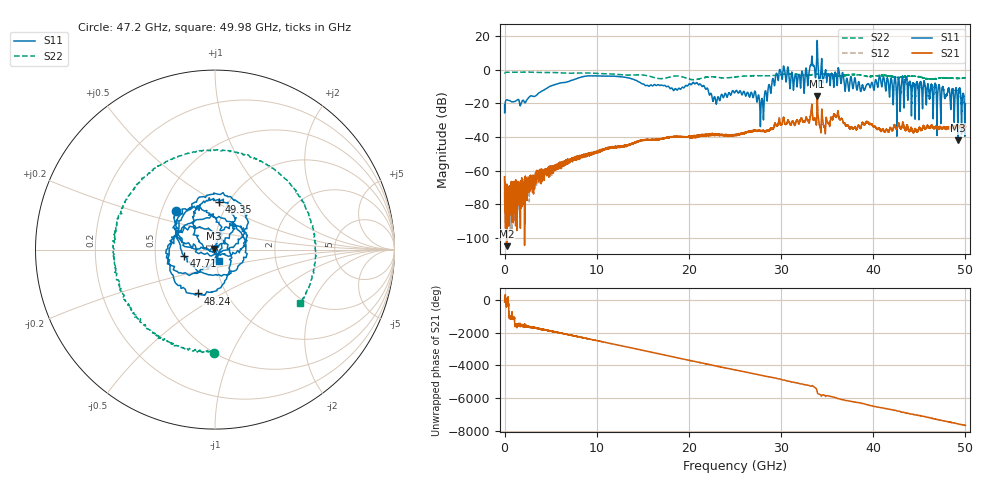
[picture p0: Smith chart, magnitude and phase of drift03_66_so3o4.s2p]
!Created with skrf (http://scikit-rf.org).
# Hz S RI R 50.0
!freq ReS11 ImS11 ReS21 ImS21 ReS12 ImS12 ReS22 ImS22
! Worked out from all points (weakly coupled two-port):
!   10001 points, 300 kHz to 50 GHz, reference 50 ohm
!   highest |S21| = -15.49 dB at 33.92 GHz (marker M1); lowest = -104.8 dB at 230.3 MHz (marker M2)
!   lowest |S11| = -41.9 dB at 49.18 GHz (marker M3), VSWR 1.02, Z = 49.5 + j0.6 ohm
!   |S11| at or under -10 dB: start of sweep to 4.849 GHz; 21.69 GHz to 28.62 GHz (6.93 GHz wide, 27.5 % of centre); 47.54 GHz to end of sweep (the widest 3 of 44)
!   |S22| runs from -5.9 to -1.3 dB; largest |S21 - S12| = 0.016
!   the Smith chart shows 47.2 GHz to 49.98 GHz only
!   S11 on the Smith chart (normalised r, x): 47.2 GHz: 0.59, +0.28; 47.71 GHz: 0.70, -0.05; 48.24 GHz: 0.74, -0.39; 49.35 GHz: 0.90, +0.52; 49.98 GHz: 1.04, -0.14
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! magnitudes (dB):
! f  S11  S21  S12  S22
! 300 kHz  -21.0  -63.6  -63.0  -2.1
! 230.3 MHz  -17.8  -104.8  -85.7  -1.4
! 8.335 GHz  -4.3  -51.6  -51.8  -1.9
! 16.67 GHz  -8.8  -41.5  -41.4  -5.2
! 21.01 GHz  -8.7  -39.6  -39.4  -5.5
! 22.81 GHz  -16.1  -38.5  -38.4  -4.2
! 25 GHz  -13.4  -38.7  -38.6  -4.3
! 27.02 GHz  -15.8  -36.3  -36.3  -3.5
! 27.92 GHz  -17.1  -36.1  -36.5  -3.5
! 29.69 GHz  -6.4  -32.3  -31.6  -3.1
! 32.32 GHz  -1.5  -30.4  -30.8  -3.3
! 33.34 GHz  8.0  -20.4  -20.9  -2.9
! 33.92 GHz  17.4  -15.5  -15.7  -2.5
! 38.82 GHz  -9.2  -31.4  -31.7  -3.4
! 41.67 GHz  -9.0  -36.9  -36.8  -3.7
! 47.2 GHz  -10.2  -34.5  -34.2  -4.8
! 47.71 GHz  -15.0  -34.4  -34.1  -4.8
! 48.24 GHz  -11.6  -34.3  -34.1  -4.9
! 49.18 GHz  -41.9  -33.9  -34.3  -5.1
! 49.35 GHz  -11.4  -34.4  -33.8  -5.1
! 49.98 GHz  -23.2  -34.0  -34.2  -5.0
! 50 GHz  -20.1  -33.7  -34.2  -5.0
